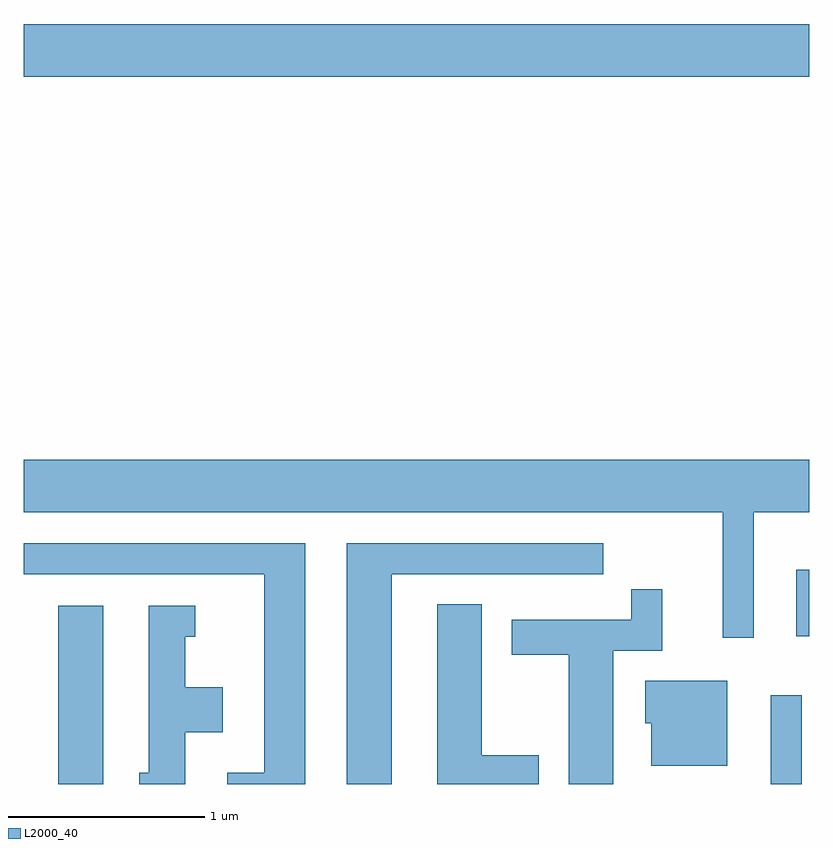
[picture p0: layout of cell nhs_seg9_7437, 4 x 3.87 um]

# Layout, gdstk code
import gdstk
lib = gdstk.Library(unit=1e-6, precision=1e-09)
def R(c, l, rs):  # rectangles x0, y0, x1, y1
    for r in rs: c.add(gdstk.rectangle(r[:2], r[2:], *l))
def P(c, l, *ps):  # polygons
    for p in ps: c.add(gdstk.Polygon(p, *l))
L2000_40 = (2000, 40)

nhs_seg9_7437 = lib.new_cell('nhs_seg9_7437')
R(nhs_seg9_7437, L2000_40, [(405.786,1990.432,406.014,1991.339), (409.416,1990.432,409.574,1990.883), (409.546,1991.186,409.611,1991.524), (405.611,1994.036,409.611,1994.304)])
P(nhs_seg9_7437, L2000_40, [(409.329,1991.816),(409.611,1991.816),(409.611,1992.084),(405.611,1992.084),(405.611,1991.816),(409.171,1991.816),(409.171,1991.178),(409.329,1991.178)],
  [(407.044,1991.659),(405.611,1991.659),(405.611,1991.501),(406.836,1991.501),(406.836,1990.489),(406.648,1990.489),(406.648,1990.432),(407.044,1990.432)],
  [(407.484,1991.501),(408.563,1991.501),(408.563,1991.659),(407.256,1991.659),(407.256,1990.432),(407.484,1990.432)],
  [(408.614,1991.111),(408.864,1991.111),(408.864,1991.423),(408.706,1991.423),(408.706,1991.269),(408.096,1991.269),(408.096,1991.091),(408.386,1991.091),(408.386,1990.432),(408.614,1990.432)],
  [(408.234,1990.579),(407.944,1990.579),(407.944,1991.349),(407.716,1991.349),(407.716,1990.432),(408.234,1990.432)],
  [(406.434,1990.696),(406.624,1990.696),(406.624,1990.924),(406.434,1990.924),(406.434,1991.181),(406.483,1991.181),(406.483,1991.339),(406.246,1991.339),(406.246,1990.489),(406.198,1990.489),(406.198,1990.432),(406.434,1990.432)],
  [(409.194,1990.959),(408.776,1990.959),(408.776,1990.741),(408.806,1990.741),(408.806,1990.526),(409.194,1990.526)])

lib.write_gds('nhs_seg9_7437.gds')
